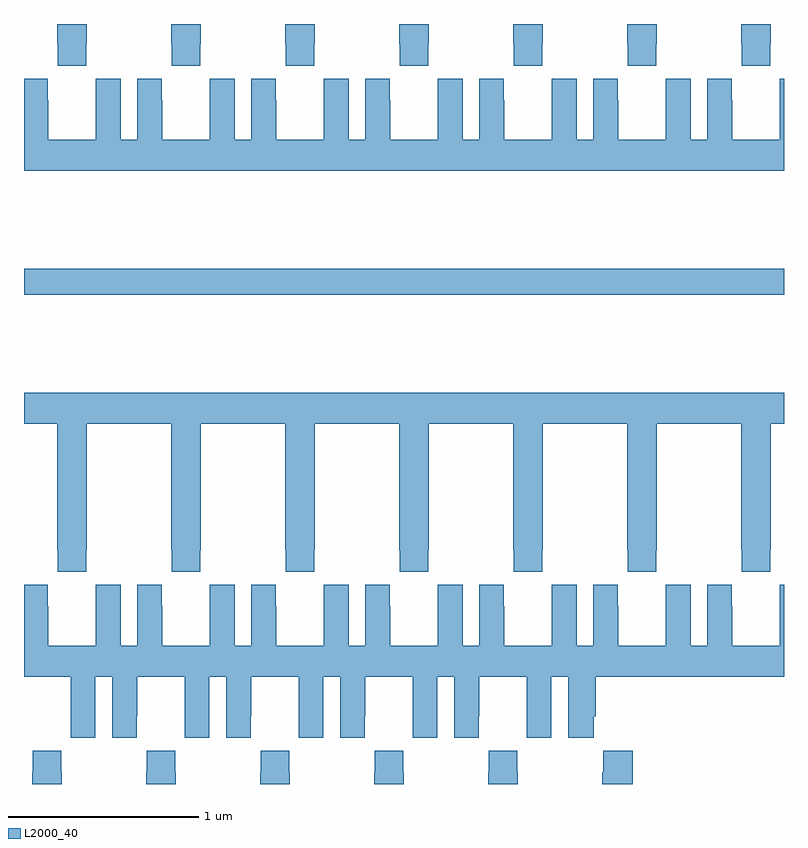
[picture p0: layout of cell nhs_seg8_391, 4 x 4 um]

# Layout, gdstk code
import gdstk
lib = gdstk.Library(unit=1e-6, precision=1e-09)
def R(c, l, rs):  # rectangles x0, y0, x1, y1
    for r in rs: c.add(gdstk.rectangle(r[:2], r[2:], *l))
def P(c, l, *ps):  # polygons
    for p in ps: c.add(gdstk.Polygon(p, *l))
L2000_40 = (2000, 40)

nhs_seg8_391 = lib.new_cell('nhs_seg8_391')
R(nhs_seg8_391, L2000_40, [(135,1154.476,139,1154.612)])
P(nhs_seg8_391, L2000_40, [(135.175,1155.793),(135.177,1155.793),(135.177,1155.681),(135.327,1155.681),(135.327,1155.793),(135.33,1155.793),(135.33,1155.9),(135.175,1155.9)],
  [(135.927,1155.793),(135.93,1155.793),(135.93,1155.9),(135.775,1155.9),(135.775,1155.793),(135.777,1155.793),(135.777,1155.681),(135.927,1155.681)],
  [(136.527,1155.793),(136.53,1155.793),(136.53,1155.9),(136.375,1155.9),(136.375,1155.793),(136.377,1155.793),(136.377,1155.681),(136.527,1155.681)],
  [(137.127,1155.793),(137.13,1155.793),(137.13,1155.9),(136.975,1155.9),(136.975,1155.793),(136.977,1155.793),(136.977,1155.681),(137.127,1155.681)],
  [(137.727,1155.793),(137.73,1155.793),(137.73,1155.9),(137.575,1155.9),(137.575,1155.793),(137.577,1155.793),(137.577,1155.681),(137.727,1155.681)],
  [(138.327,1155.793),(138.33,1155.793),(138.33,1155.9),(138.175,1155.9),(138.175,1155.793),(138.177,1155.793),(138.177,1155.681),(138.327,1155.681)],
  [(138.927,1155.793),(138.93,1155.793),(138.93,1155.9),(138.775,1155.9),(138.775,1155.793),(138.777,1155.793),(138.777,1155.681),(138.927,1155.681)],
  [(139,1155.613),(138.978,1155.613),(138.978,1155.5),(138.977,1155.5),(138.977,1155.292),(138.727,1155.292),(138.727,1155.5),(138.726,1155.5),(138.726,1155.613),(138.596,1155.613),(138.596,1155.292),(138.508,1155.292),(138.508,1155.613),(138.378,1155.613),(138.378,1155.5),(138.377,1155.5),(138.377,1155.292),(138.127,1155.292),(138.127,1155.5),(138.126,1155.5),(138.126,1155.613),(137.996,1155.613),(137.996,1155.292),(137.908,1155.292),(137.908,1155.613),(137.778,1155.613),(137.778,1155.5),(137.777,1155.5),(137.777,1155.292),(137.527,1155.292),(137.527,1155.5),(137.526,1155.5),(137.526,1155.613),(137.396,1155.613),(137.396,1155.292),(137.308,1155.292),(137.308,1155.613),(137.178,1155.613),(137.178,1155.5),(137.177,1155.5),(137.177,1155.292),(136.927,1155.292),(136.927,1155.5),(136.926,1155.5),(136.926,1155.613),(136.796,1155.613),(136.796,1155.292),(136.708,1155.292),(136.708,1155.613),(136.578,1155.613),(136.578,1155.5),(136.577,1155.5),(136.577,1155.292),(136.327,1155.292),(136.327,1155.5),(136.326,1155.5),(136.326,1155.613),(136.196,1155.613),(136.196,1155.292),(136.108,1155.292),(136.108,1155.613),(135.978,1155.613),(135.978,1155.5),(135.977,1155.5),(135.977,1155.292),(135.727,1155.292),(135.727,1155.5),(135.726,1155.5),(135.726,1155.613),(135.596,1155.613),(135.596,1155.292),(135.508,1155.292),(135.508,1155.613),(135.378,1155.613),(135.378,1155.5),(135.377,1155.5),(135.377,1155.292),(135.127,1155.292),(135.127,1155.5),(135.126,1155.5),(135.126,1155.613),(135,1155.613),(135,1155.128),(139,1155.128)],
  [(135.327,1153.129),(135.33,1153.129),(135.33,1153.796),(135.775,1153.796),(135.775,1153.129),(135.777,1153.129),(135.777,1153.017),(135.927,1153.017),(135.927,1153.129),(135.93,1153.129),(135.93,1153.796),(136.375,1153.796),(136.375,1153.129),(136.377,1153.129),(136.377,1153.017),(136.527,1153.017),(136.527,1153.129),(136.53,1153.129),(136.53,1153.796),(136.975,1153.796),(136.975,1153.129),(136.977,1153.129),(136.977,1153.017),(137.127,1153.017),(137.127,1153.129),(137.13,1153.129),(137.13,1153.796),(137.575,1153.796),(137.575,1153.129),(137.577,1153.129),(137.577,1153.017),(137.727,1153.017),(137.727,1153.129),(137.73,1153.129),(137.73,1153.796),(138.175,1153.796),(138.175,1153.129),(138.177,1153.129),(138.177,1153.017),(138.327,1153.017),(138.327,1153.129),(138.33,1153.129),(138.33,1153.796),(138.775,1153.796),(138.775,1153.129),(138.777,1153.129),(138.777,1153.017),(138.927,1153.017),(138.927,1153.129),(138.93,1153.129),(138.93,1153.796),(139,1153.796),(139,1153.96),(135,1153.96),(135,1153.796),(135.175,1153.796),(135.175,1153.129),(135.177,1153.129),(135.177,1153.017),(135.327,1153.017)],
  [(135.376,1152.464),(135.464,1152.464),(135.464,1152.144),(135.594,1152.144),(135.594,1152.256),(135.595,1152.256),(135.595,1152.464),(135.845,1152.464),(135.845,1152.256),(135.846,1152.256),(135.846,1152.144),(135.976,1152.144),(135.976,1152.464),(136.064,1152.464),(136.064,1152.144),(136.194,1152.144),(136.194,1152.256),(136.195,1152.256),(136.195,1152.464),(136.445,1152.464),(136.445,1152.256),(136.446,1152.256),(136.446,1152.144),(136.576,1152.144),(136.576,1152.464),(136.664,1152.464),(136.664,1152.144),(136.794,1152.144),(136.794,1152.256),(136.795,1152.256),(136.795,1152.464),(137.045,1152.464),(137.045,1152.256),(137.046,1152.256),(137.046,1152.144),(137.176,1152.144),(137.176,1152.464),(137.264,1152.464),(137.264,1152.144),(137.394,1152.144),(137.394,1152.256),(137.395,1152.256),(137.395,1152.464),(137.645,1152.464),(137.645,1152.256),(137.646,1152.256),(137.646,1152.144),(137.776,1152.144),(137.776,1152.464),(137.864,1152.464),(137.864,1152.144),(137.998,1152.144),(137.998,1152.256),(138.008,1152.256),(138.008,1152.464),(139,1152.464),(139,1152.949),(138.978,1152.949),(138.978,1152.836),(138.977,1152.836),(138.977,1152.628),(138.727,1152.628),(138.727,1152.836),(138.726,1152.836),(138.726,1152.949),(138.596,1152.949),(138.596,1152.628),(138.508,1152.628),(138.508,1152.949),(138.378,1152.949),(138.378,1152.836),(138.377,1152.836),(138.377,1152.628),(138.127,1152.628),(138.127,1152.836),(138.126,1152.836),(138.126,1152.949),(137.996,1152.949),(137.996,1152.628),(137.908,1152.628),(137.908,1152.949),(137.778,1152.949),(137.778,1152.836),(137.777,1152.836),(137.777,1152.628),(137.527,1152.628),(137.527,1152.836),(137.526,1152.836),(137.526,1152.949),(137.396,1152.949),(137.396,1152.628),(137.308,1152.628),(137.308,1152.949),(137.178,1152.949),(137.178,1152.836),(137.177,1152.836),(137.177,1152.628),(136.927,1152.628),(136.927,1152.836),(136.926,1152.836),(136.926,1152.949),(136.796,1152.949),(136.796,1152.628),(136.708,1152.628),(136.708,1152.949),(136.578,1152.949),(136.578,1152.836),(136.577,1152.836),(136.577,1152.628),(136.327,1152.628),(136.327,1152.836),(136.326,1152.836),(136.326,1152.949),(136.196,1152.949),(136.196,1152.628),(136.108,1152.628),(136.108,1152.949),(135.978,1152.949),(135.978,1152.836),(135.977,1152.836),(135.977,1152.628),(135.727,1152.628),(135.727,1152.836),(135.726,1152.836),(135.726,1152.949),(135.596,1152.949),(135.596,1152.628),(135.508,1152.628),(135.508,1152.949),(135.378,1152.949),(135.378,1152.836),(135.377,1152.836),(135.377,1152.628),(135.127,1152.628),(135.127,1152.836),(135.126,1152.836),(135.126,1152.949),(135,1152.949),(135,1152.464),(135.245,1152.464),(135.245,1152.256),(135.246,1152.256),(135.246,1152.144),(135.376,1152.144)],
  [(138.203,1152.076),(138.049,1152.076),(138.049,1151.963),(138.043,1151.963),(138.043,1151.9),(138.203,1151.9)],
  [(137.598,1151.963),(137.595,1151.963),(137.595,1152.076),(137.445,1152.076),(137.445,1151.963),(137.443,1151.963),(137.443,1151.9),(137.598,1151.9)],
  [(136.998,1151.963),(136.995,1151.963),(136.995,1152.076),(136.845,1152.076),(136.845,1151.963),(136.843,1151.963),(136.843,1151.9),(136.998,1151.9)],
  [(136.398,1151.963),(136.395,1151.963),(136.395,1152.076),(136.245,1152.076),(136.245,1151.963),(136.243,1151.963),(136.243,1151.9),(136.398,1151.9)],
  [(135.798,1151.963),(135.795,1151.963),(135.795,1152.076),(135.645,1152.076),(135.645,1151.963),(135.643,1151.963),(135.643,1151.9),(135.798,1151.9)],
  [(135.045,1151.963),(135.043,1151.963),(135.043,1151.9),(135.198,1151.9),(135.198,1151.963),(135.195,1151.963),(135.195,1152.076),(135.045,1152.076)])

lib.write_gds('nhs_seg8_391.gds')
